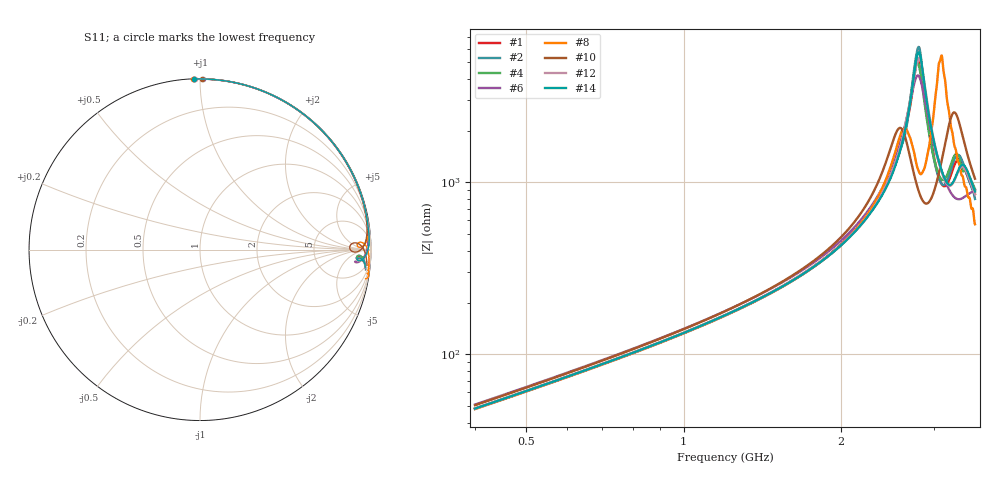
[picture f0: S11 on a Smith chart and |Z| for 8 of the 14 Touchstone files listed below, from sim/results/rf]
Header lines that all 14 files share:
! simulated by sim/rf_fdtd.py
# HZ S RI R 50
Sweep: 400 MHz to 3.6 GHz
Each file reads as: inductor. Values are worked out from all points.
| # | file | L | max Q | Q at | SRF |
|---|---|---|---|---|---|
| 1 | arm_antenna_50_batt35.s1p | 18.8 nH | 578 | 415 MHz | 2.817 GHz |
| 2 | arm_antenna_50_battall.s1p | 18.7 nH | 599 | 415 MHz | 2.817 GHz |
| 3 | arm_copper_batt35.s1p | 18.8 nH | 578 | 415 MHz | 2.834 GHz |
| 4 | arm_genuine_batt35.s1p | 18.7 nH | 588 | 415 MHz | 2.813 GHz |
| 5 | arm_genuine_battall.s1p | 18.7 nH | 614 | 415 MHz | 2.825 GHz |
| 6 | patch_air_batt35.s1p | 19.8 nH | 341 | 415 MHz | 2.821 GHz |
| 7 | patch_antenna_50_batt35.s1p | 19.1 nH | 534 | 415 MHz | 3.072 GHz |
| 8 | patch_antenna_50_battall.s1p | 18.8 nH | 623 | 415 MHz | 3.082 GHz |
| 9 | patch_copper_batt35.s1p | 18.8 nH | 598 | 415 MHz | 3.1 GHz |
| 10 | patch_genuine_batt35.s1p | 19.5 nH | 367 | 415 MHz | 2.673 GHz |
| 11 | patch_genuine_battall.s1p | 18.7 nH | 640 | 415 MHz | 3.128 GHz |
| 12 | tip_antenna_50_batt35.s1p | 18.8 nH | 562 | 415 MHz | 2.829 GHz |
| 13 | tip_copper_batt35.s1p | 18.8 nH | 562 | 415 MHz | 2.827 GHz |
| 14 | tip_genuine_batt35.s1p | 18.8 nH | 571 | 415 MHz | 2.826 GHz |
